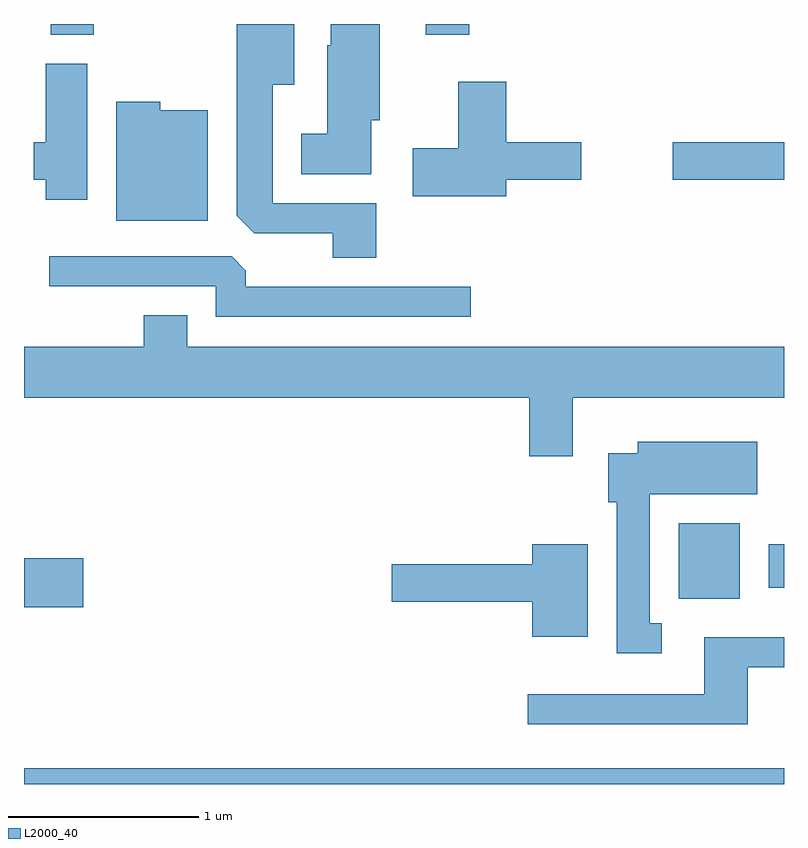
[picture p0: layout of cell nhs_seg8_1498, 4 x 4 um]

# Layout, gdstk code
import gdstk
lib = gdstk.Library(unit=1e-6, precision=1e-09)
def R(c, l, rs):  # rectangles x0, y0, x1, y1
    for r in rs: c.add(gdstk.rectangle(r[:2], r[2:], *l))
def P(c, l, *ps):  # polygons
    for p in ps: c.add(gdstk.Polygon(p, *l))
L2000_40 = (2000, 40)

nhs_seg8_1498 = lib.new_cell('nhs_seg8_1498')
R(nhs_seg8_1498, L2000_40, [(229.611,1874.342,233.611,1874.424), (229.611,1875.271,229.924,1875.529), (233.056,1875.316,233.379,1875.714), (233.531,1875.376,233.611,1875.604), (233.026,1877.521,233.611,1877.719), (229.751,1878.286,229.979,1878.342), (231.726,1878.286,231.954,1878.342)])
P(nhs_seg8_1498, L2000_40, [(231.464,1877.399),(230.919,1877.399),(230.919,1878.021),(231.034,1878.021),(231.034,1878.342),(230.731,1878.342),(230.731,1877.332),(230.822,1877.241),(231.236,1877.241),(231.236,1877.111),(231.464,1877.111)],
  [(231.439,1877.836),(231.484,1877.836),(231.484,1878.342),(231.226,1878.342),(231.226,1878.229),(231.206,1878.229),(231.206,1877.764),(231.071,1877.764),(231.071,1877.551),(231.439,1877.551)],
  [(229.944,1878.134),(229.726,1878.134),(229.726,1877.719),(229.661,1877.719),(229.661,1877.521),(229.726,1877.521),(229.726,1877.416),(229.944,1877.416)],
  [(232.149,1877.521),(232.544,1877.521),(232.544,1877.719),(232.149,1877.719),(232.149,1878.039),(231.896,1878.039),(231.896,1877.689),(231.656,1877.689),(231.656,1877.436),(232.149,1877.436)],
  [(230.579,1877.889),(230.329,1877.889),(230.329,1877.934),(230.096,1877.934),(230.096,1877.306),(230.579,1877.306)],
  [(231.963,1876.959),(230.779,1876.959),(230.779,1877.044),(230.704,1877.119),(229.743,1877.119),(229.743,1876.961),(230.621,1876.961),(230.621,1876.801),(231.963,1876.801)],
  [(232.499,1876.376),(233.611,1876.376),(233.611,1876.644),(230.469,1876.644),(230.469,1876.809),(230.241,1876.809),(230.241,1876.644),(229.611,1876.644),(229.611,1876.376),(232.271,1876.376),(232.271,1876.066),(232.499,1876.066)],
  [(232.968,1875.189),(232.904,1875.189),(232.904,1875.866),(233.469,1875.866),(233.469,1876.144),(232.841,1876.144),(232.841,1876.084),(232.686,1876.084),(232.686,1875.826),(232.731,1875.826),(232.731,1875.031),(232.968,1875.031)],
  [(232.579,1875.604),(232.286,1875.604),(232.286,1875.499),(231.546,1875.499),(231.546,1875.301),(232.286,1875.301),(232.286,1875.116),(232.579,1875.116)],
  [(233.419,1874.956),(233.611,1874.956),(233.611,1875.114),(233.191,1875.114),(233.191,1874.814),(232.263,1874.814),(232.263,1874.656),(233.419,1874.656)])

lib.write_gds('nhs_seg8_1498.gds')
